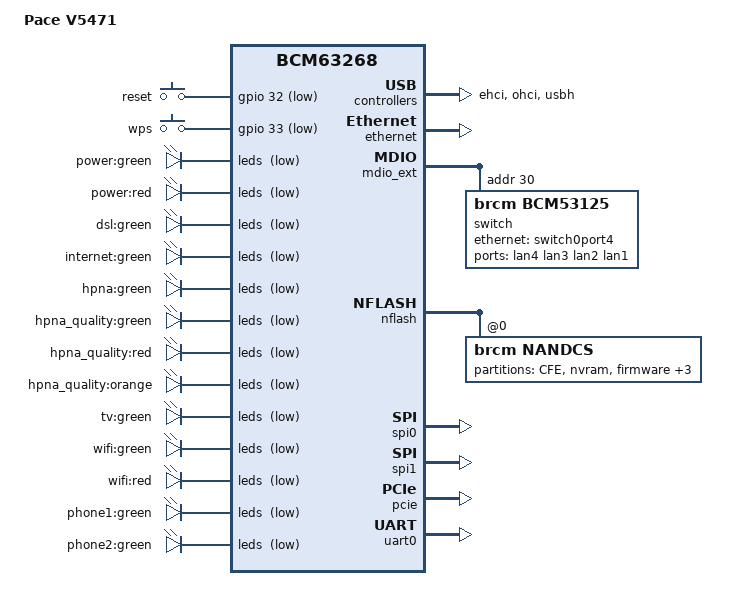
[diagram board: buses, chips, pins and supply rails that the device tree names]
// SPDX-License-Identifier: GPL-2.0-or-later

#include "bcm63268.dtsi"

/ {
	model = "Pace V5471";
	compatible = "pace,v5471", "brcm,bcm63168", "brcm,bcm63268";

	aliases {
		led-boot = &led_power_green;
		led-failsafe = &led_power_red;
		led-running = &led_power_green;
		led-upgrade = &led_power_green;
	};

	keys {
		compatible = "gpio-keys-polled";
		poll-interval = <100>;

		reset {
			label = "reset";
			gpios = <&gpio 32 GPIO_ACTIVE_LOW>;
			linux,code = <KEY_RESTART>;
			debounce-interval = <60>;
		};

		wps {
			label = "wps";
			gpios = <&gpio 33 GPIO_ACTIVE_LOW>;
			linux,code = <KEY_WPS_BUTTON>;
			debounce-interval = <60>;
		};
	};
};

&ehci {
	status = "okay";
};

&ethernet {
	status = "okay";

	nvmem-cells = <&macaddr_cferom_6a0>;
	nvmem-cell-names = "mac-address";
};

&leds {
	status = "okay";
	brcm,serial-leds;
	brcm,serial-dat-low;
	brcm,serial-shift-inv;
	brcm,serial-mux;

	pinctrl-names = "default";
	pinctrl-0 = <&pinctrl_leds &pinctrl_serial_led>;

	led_power_green: led@0 {
		active-low;
		function = LED_FUNCTION_POWER;
		color = <LED_COLOR_ID_GREEN>;
		label = "power:green";
	};
	led_power_red: led@1 {
		active-low;
		function = LED_FUNCTION_POWER;
		color = <LED_COLOR_ID_RED>;
		label = "power:red";
	};

	led@2 {
		active-low;
		color = <LED_COLOR_ID_GREEN>;
		label = "dsl:green";
	};

	led@3 {
		active-low;
		color = <LED_COLOR_ID_GREEN>;
		label = "internet:green";
	};

	led@4 {
		active-low;
		color = <LED_COLOR_ID_GREEN>;
		label = "hpna:green";
	};

	led@5 {
		active-low;
		color = <LED_COLOR_ID_GREEN>;
		label = "hpna_quality:green";
	};
	led@6 {
		active-low;
		color = <LED_COLOR_ID_RED>;
		label = "hpna_quality:red";
	};
	led@7 {
		active-low;
		color = <LED_COLOR_ID_ORANGE>;
		label = "hpna_quality:orange";
	};

	led@8 {
		active-low;
		color = <LED_COLOR_ID_GREEN>;
		label = "tv:green";
	};

	led@9 {
		active-low;
		color = <LED_COLOR_ID_GREEN>;
		label = "wifi:green";
	};
	led@10 {
		active-low;
		color = <LED_COLOR_ID_RED>;
		label = "wifi:red";
	};

	led@11 {
		active-low;
		color = <LED_COLOR_ID_RED>;
		label = "phone1:green";
	};
	led@12 {
		active-low;
		color = <LED_COLOR_ID_RED>;
		label = "phone2:green";
	};
};

&mdio_ext {
	switch@1e {
		compatible = "brcm,bcm53125";
		reg = <0x1e>;
		dsa,member = <1 0>;

		ports {
			#address-cells = <1>;
			#size-cells = <0>;
			port@1 {
				reg = <1>;
				label = "lan4";
			};
			port@2 {
				reg = <2>;
				label = "lan3";
			};
			port@3 {
				reg = <3>;
				label = "lan2";
			};
			port@4 {
				reg = <4>;
				label = "lan1";
			};
			port@8 {
				reg = <8>;
				phy-mode = "rgmii";
				ethernet = <&switch0port4>;
				fixed-link {
					speed = <1000>;
					full-duplex;
					asym-pause;
					pause;
				};
			};
		};
	};
};

&nflash {
	status = "okay";
	nandcs@0 {
		compatible = "brcm,nandcs";
		reg = <0>;
		nand-ecc-step-size = <512>;
		nand-ecc-strength = <15>;
		nand-on-flash-bbt;
		brcm,nand-oob-sector-size = <64>;
		partitions {
			compatible = "fixed-partitions";
			#address-cells = <1>;
			#size-cells = <1>;

			partition@0 {// Loader
				label = "CFE";// Common name for Broadcom bootloader partition
				reg = <0x0000000 0x0200000>;// 2MB
				read-only;
				// Define nvmem layout for MAC address within CFE partition
				// Using standard offset from Sagem DTS, verify if needed
				nvmem-layout {
					compatible = "fixed-layout";
					#address-cells = ;
					#size-cells = ;
					macaddr_cferom_6a0: macaddr@6a0 {
						reg = <0x6a0 0x6>;// MAC address at offset 0x6a0
					};
				};
			};
			partition@200000 {// Nvram
				label = "nvram";
				reg = <0x0200000 0x0200000>;// 2MB
			};
			partition@400000 {// Firmware -> OpenWrt firmware (Kernel + RootFS)
				label = "firmware";
				compatible = "brcm,bcm63xx-imagetag";// Assume CFE needs Broadcom tags
				reg = <0x0400000 0x2000000>;// 32MB
			};
			partition@2400000 {// OldFirmware -> Read-only placeholder
				label = "alt_firmware";
				reg = <0x2400000 0x2000000>;// 32MB
				read-only;
			};
			partition@4400000 {// Nvlog -> Read-only placeholder
				label = "nvlog";
				reg = <0x4400000 0x0800000>;// 8MB
				read-only;
			};
			partition@4c00000 {// Extra_5 -> UBI partition for overlay
				label = "ubi";// Suggests UBI usage
				reg = <0x4c00000 0x3380000>;// 51.5MB
			};
		};
	};
};

&spi0 {
  status = "okay";
}
&spi1 {
  status = "okay";
}

&ohci {
	status = "okay";
};

&pcie {
	status = "okay";
};

&pinctrl {
	pinctrl_leds: leds {
		function = "led";
		pins = "gpio8", "gpio9", "gpio15", "gpio20";
	};
};

&switch0 {
	dsa,member = <0 0>;
	ports {
		port@3 {
			reg = <3>;
			label = "wan";
			phy-handle = <&phy4>;
		};
		switch0port4: port@4 {
			reg = <4>;
			label = "extsw";
			phy-mode = "rgmii";
			fixed-link {
				speed = <1000>;
				full-duplex;
			};
		};
	};
};

&uart0 {
	status = "okay";
};

&usbh {
	status = "okay";
};
